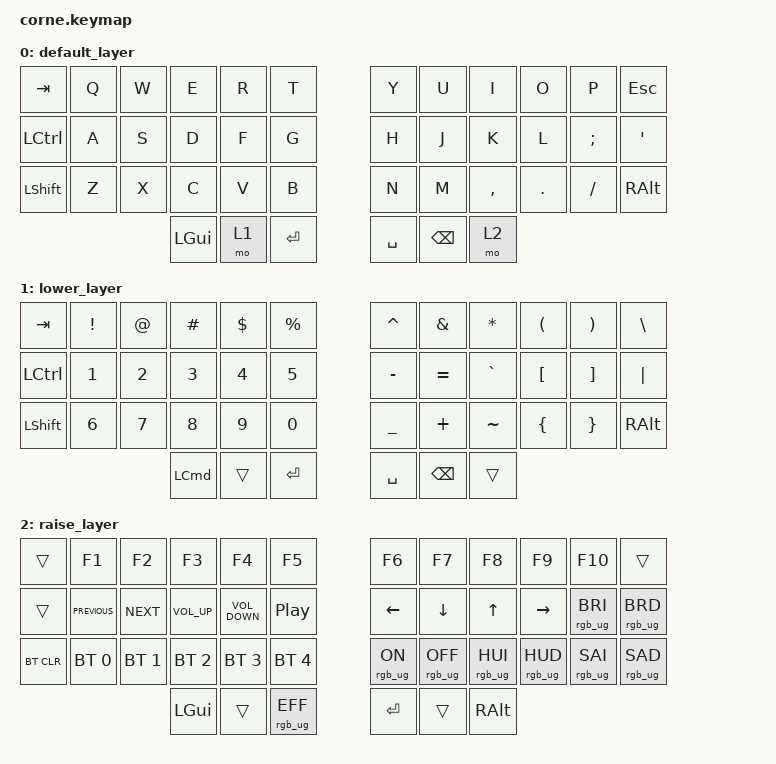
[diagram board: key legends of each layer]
/*
 * Copyright (c) 2020 The ZMK Contributors
 *
 * SPDX-License-Identifier: MIT
 */

#include <behaviors.dtsi>
#include <dt-bindings/zmk/bt.h>
#include <dt-bindings/zmk/keys.h>
#include <dt-bindings/zmk/rgb.h>

/ {
    keymap {
        compatible = "zmk,keymap";

        default_layer {
            // -----------------------------------------------------------------------------------------
            // |  TAB |  Q  |  W  |  E  |  R  |  T  |   |  Y  |  U   |  I  |  O  |  P  | BKSP |
            // | CTRL |  A  |  S  |  D  |  F  |  G  |   |  H  |  J   |  K  |  L  |  ;  |  '   |
            // | SHFT |  Z  |  X  |  C  |  V  |  B  |   |  N  |  M   |  ,  |  .  |  /  | ESC  |
            //                    | GUI | LWR | SPC |   | ENT | RSE  | ALT |

            bindings = <
&kp TAB    &kp Q  &kp W  &kp E     &kp R  &kp T        &kp Y      &kp U          &kp I      &kp O    &kp P     &kp ESCAPE
&kp LCTRL  &kp A  &kp S  &kp D     &kp F  &kp G        &kp H      &kp J          &kp K      &kp L    &kp SEMI  &kp SQT
&kp LSHFT  &kp Z  &kp X  &kp C     &kp V  &kp B        &kp N      &kp M          &kp COMMA  &kp DOT  &kp FSLH  &kp RALT
                         &kp LGUI  &mo 1  &kp ENTER    &kp SPACE  &kp BACKSPACE  &mo 2
            >;
        };

        lower_layer {
            // -----------------------------------------------------------------------------------------
            // |  TAB |  1  |  2  |  3  |  4  |  5  |   |  6  |  7  |  8  |  9  |  0  | BKSP |
            // | BTCLR| BT1 | BT2 | BT3 | BT4 | BT5 |   | LFT | DWN |  UP | RGT |     |      |
            // | SHFT |     |     |     |     |     |   |     |     |     |     |     |      |
            //                    | GUI |     | SPC |   | ENT |     | ALT |

            bindings = <
&kp TAB           &kp EXCLAMATION  &kp AT_SIGN   &kp HASH          &kp DOLLAR    &kp PERCENT    &kp CARET       &kp AMPERSAND  &kp ASTERISK  &kp LEFT_PARENTHESIS  &kp RIGHT_PARENTHESIS  &kp BACKSLASH
&kp LEFT_CONTROL  &kp NUMBER_1     &kp NUMBER_2  &kp NUMBER_3      &kp NUMBER_4  &kp N5         &kp MINUS       &kp EQUAL      &kp GRAVE     &kp LEFT_BRACKET      &kp RIGHT_BRACKET      &kp PIPE
&kp LEFT_SHIFT    &kp NUMBER_6     &kp N7        &kp N8            &kp N9        &kp N0         &kp UNDERSCORE  &kp PLUS       &kp TILDE     &kp LEFT_BRACE        &kp RIGHT_BRACE        &kp RALT
                                                 &kp LEFT_COMMAND  &trans        &kp ENTER      &kp SPACE       &kp BACKSPACE  &trans
            >;
        };

        raise_layer {
            // -----------------------------------------------------------------------------------------
            // |  TAB |  !  |  @  |  #  |  $  |  %  |   |  ^  |  &  |  *  |  (  |  )  | BKSP |
            // | CTRL |     |     |     |     |     |   |  -  |  =  |  [  |  ]  |  \  |  `   |
            // | SHFT |     |     |     |     |     |   |  _  |  +  |  {  |  }  | "|" |  ~   |
            //                    | GUI |     | SPC |   | ENT |     | ALT |

            bindings = <
&trans      &kp F1          &kp F2        &kp F3           &kp F4             &kp F5              &kp F6          &kp F7           &kp F8           &kp F9           &kp F10          &trans
&trans      &kp C_PREVIOUS  &kp C_NEXT    &kp C_VOLUME_UP  &kp C_VOLUME_DOWN  &kp C_PLAY_PAUSE    &kp LEFT_ARROW  &kp DOWN_ARROW   &kp UP_ARROW     &kp RIGHT        &rgb_ug RGB_BRI  &rgb_ug RGB_BRD
&bt BT_CLR  &bt BT_SEL 0    &bt BT_SEL 1  &bt BT_SEL 2     &bt BT_SEL 3       &bt BT_SEL 4        &rgb_ug RGB_ON  &rgb_ug RGB_OFF  &rgb_ug RGB_HUI  &rgb_ug RGB_HUD  &rgb_ug RGB_SAI  &rgb_ug RGB_SAD
                                          &kp LGUI         &trans             &rgb_ug RGB_EFF     &kp RET         &trans           &kp RALT
            >;
        };
    };
};
